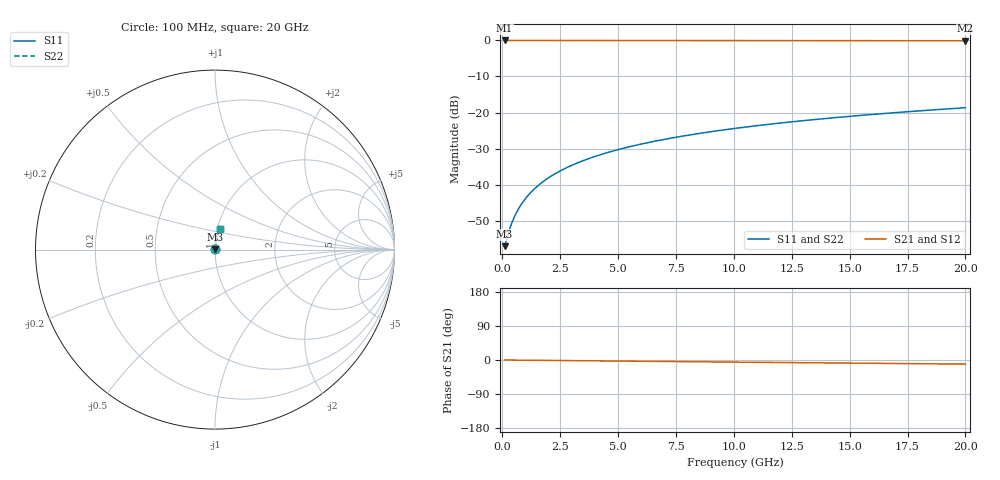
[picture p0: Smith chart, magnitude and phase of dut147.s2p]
! Touchstone file exported from HFSS 2026.1.0
!  File:  C:/ffzhzh/LocalFiles/Ansys_Project_Files/temp_train_BSMRDL_147_1782986530_6248.aedt
!  Generated:  06:03:31 PM Jul  2, 2026
!  Design:  BSMRDL
!  Project:  temp_train_BSMRDL_147_1782986530_6248
! Variables:
!  h_bsmrdl = 4.25um
!  h_ox = 20um
!  h_rdl = 5um
!  h_sub = 80um
!  h_tmrdl = 5um
!  h_tsv = 80um
!  h_via = 3um
!  l_bsmrdl = 135.94um
!  l_sub = 535.94um
!  l_tmrdl = 200um
!  m_sub = 200um
!  pitch = 28.64um
!  r_tsv = 6um
!  s_tmrdl = 10um
!  w_bsmrdl = 10.15um
!  w_sub = 500um
!  w_tmrdl = 12um
!  x_tsv_center1 = 206um
!  x_tsv_center2 = 352.09um
!  x_tsv_center3 = 564.09um
!  x_tsv_center4 = 710.18um
!  x_tsv_center5 = 922.18um
!  x_tsv_center6 = 1068.27um
# GHz S MA R 50.000000
! Terminal data exported
! Port[1] = BSM_RDL1_1_T1
! Port[2] = BSM_RDL1_1_T2
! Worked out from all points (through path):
!   200 points, 100 MHz to 20 GHz, reference 50 ohm
!   highest |S21| = -0.01 dB at 100 MHz (marker M1); lowest = -0.1 dB at 20 GHz (marker M2)
!   group delay of S21, straight-line fit = 1.51 ps
!   lowest |S11| = -57.1 dB at 100 MHz (marker M3), VSWR 1.00, Z = 50.1 + j0.0652 ohm
!   |S11| at or under -10 dB: start of sweep to end of sweep
!   |S22| runs from -57.1 to -18.7 dB; largest |S21 - S12| = 2.1e-15
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0.1  0.001399 27.7  0.9988 -0.1  0.9988 -0.1  0.001399 27.7
! Gamma 0 0 0 0
! Port Impedance 50 0 50 0
0.3  0.002318 56.2  0.9987 -0.2  0.9987 -0.2  0.002318 56.2
0.4  0.002871 62.7  0.9987 -0.2  0.9987 -0.2  0.002871 62.7
0.5  0.003442 67.0  0.9987 -0.3  0.9987 -0.3  0.003442 67.0
0.6  0.004022 70.0  0.9986 -0.3  0.9986 -0.3  0.004022 70.0
0.7  0.004609 72.3  0.9986 -0.4  0.9986 -0.4  0.004609 72.3
0.9  0.005794 75.5  0.9986 -0.5  0.9986 -0.5  0.005794 75.5
1.2  0.007592 78.4  0.9985 -0.7  0.9985 -0.7  0.007592 78.4
1.4  0.008798 79.7  0.9985 -0.8  0.9985 -0.8  0.008798 79.7
1.7  0.01062 81.0  0.9985 -1.0  0.9985 -1.0  0.01062 81.0
2.2  0.01365 82.2  0.9984 -1.2  0.9984 -1.2  0.01365 82.2
2.8  0.0173 83.0  0.9982 -1.6  0.9982 -1.6  0.0173 83.0
3.5  0.02154 83.3  0.998 -2.0  0.998 -2.0  0.02154 83.3
4.2  0.02576 83.4  0.9978 -2.3  0.9978 -2.3  0.02576 83.4
5  0.03056 83.3  0.9975 -2.8  0.9975 -2.8  0.03056 83.3
5.9  0.03592 83.1  0.9971 -3.3  0.9971 -3.3  0.03592 83.1
6.8  0.04124 82.8  0.9967 -3.8  0.9967 -3.8  0.04124 82.8
8.3  0.05004 82.2  0.996 -4.6  0.996 -4.6  0.05004 82.2
10.1  0.0605 81.4  0.995 -5.6  0.995 -5.6  0.0605 81.4
13.4  0.07942 79.9  0.9931 -7.3  0.9931 -7.3  0.07942 79.9
16.7  0.0981 78.4  0.9909 -9.1  0.9909 -9.1  0.0981 78.4
20  0.1166 76.8  0.9885 -10.9  0.9885 -10.9  0.1166 76.8
